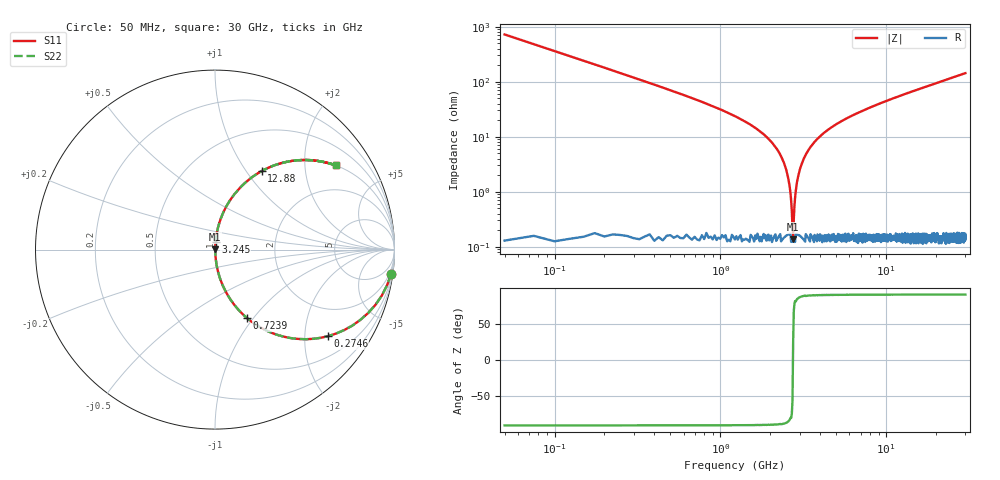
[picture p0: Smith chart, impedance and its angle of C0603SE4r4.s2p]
!	AVX Thin Film Operation 	Date: April 2014
!	Description: Accu-P® Series, Thin Film  SMD RF Capacitor
!	Part Number: 06035J4R4ABSTR
# MHZ S MA R 50
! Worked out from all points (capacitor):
!   1201 points, 50 MHz to 30 GHz, reference 50 ohm
!   read as one part in series: C = 4.4 pF near 199.8 MHz
!   lowest |Z| = 135 mohm at 2.745 GHz (marker M1)
!   series resonance near 2.74 GHz, so ESL is about 770 pH
!   S11 on the Smith chart (normalised r, x): 50 MHz: 1, -14; 274.6 MHz: 1.00, -2.61; 723.9 MHz: 1.00, -0.93; 3.245 GHz: 1.00, +0.09; 12.88 GHz: 1.00, +1.18; 30 GHz: 1.00, +2.87
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50  0.991 -7.9  0.137 82.1  0.137 82.1  0.991 -7.9
274.625  0.793 -37.5  0.608 52.5  0.608 52.5  0.793 -37.5
499.25  0.573 -54.9  0.818 35.0  0.818 35.0  0.573 -54.9
723.875  0.421 -64.9  0.906 24.9  0.906 24.9  0.421 -64.9
1248  0.224 -76.7  0.973 12.9  0.973 12.9  0.224 -76.7
2171.458  0.062 -85.1  0.997 3.5  0.997 3.5  0.062 -85.1
2421.042  0.033 -85.6  0.998 1.9  0.998 1.9  0.033 -85.6
2520.875  0.022 -84.9  0.998 1.3  0.998 1.3  0.022 -84.9
2645.667  0.009321 -80.5  0.998 0.5  0.998 0.5  0.009321 -80.5
2745.5  0.001563 21.0  0.999 -0.0  0.999 -0.0  0.001563 21.0
2845.333  0.01 81.1  0.998 -0.6  0.998 -0.6  0.01 81.1
3020.042  0.026 85.3  0.998 -1.5  0.998 -1.5  0.026 85.3
3244.667  0.045 85.6  0.998 -2.6  0.998 -2.6  0.045 85.6
3918.542  0.096 83.6  0.994 -5.5  0.994 -5.5  0.096 83.6
5041.667  0.169 79.8  0.984 -9.7  0.984 -9.7  0.169 79.8
7113.208  0.28 73.5  0.959 -16.3  0.959 -16.3  0.28 73.5
10058.29  0.409 65.7  0.911 -24.1  0.911 -24.1  0.409 65.7
12878.58  0.509 59.2  0.859 -30.6  0.859 -30.6  0.509 59.2
15025  0.573 54.9  0.818 -35.0  0.818 -35.0  0.573 54.9
20016.67  0.687 46.5  0.726 -43.4  0.726 -43.4  0.687 46.5
25033.29  0.766 40.0  0.642 -50.0  0.642 -50.0  0.766 40.0
30000  0.82 34.9  0.572 -55.1  0.572 -55.1  0.82 34.9
